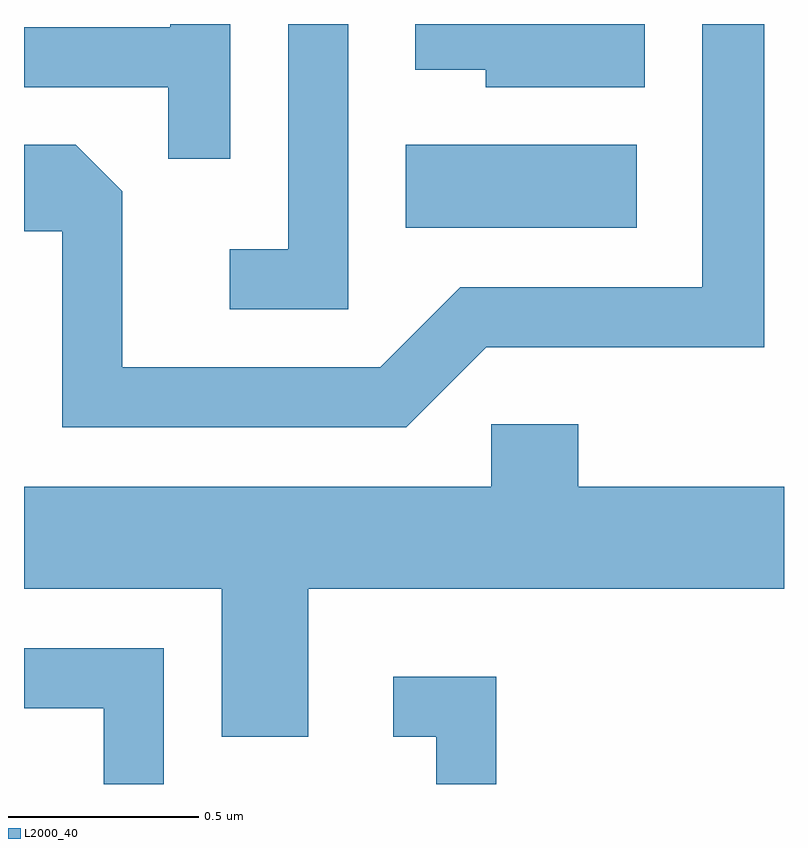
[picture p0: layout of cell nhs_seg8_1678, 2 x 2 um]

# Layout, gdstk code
import gdstk
lib = gdstk.Library(unit=1e-6, precision=1e-09)
def R(c, l, rs):  # rectangles x0, y0, x1, y1
    for r in rs: c.add(gdstk.rectangle(r[:2], r[2:], *l))
def P(c, l, *ps):  # polygons
    for p in ps: c.add(gdstk.Polygon(p, *l))
L2000_40 = (2000, 40)

nhs_seg8_1678 = lib.new_cell('nhs_seg8_1678')
R(nhs_seg8_1678, L2000_40, [(198.616,1841.806,199.224,1842.024)])
P(nhs_seg8_1678, L2000_40, [(198.464,1842.342),(198.306,1842.342),(198.306,1841.749),(198.153,1841.749),(198.153,1841.591),(198.464,1841.591)],
  [(198.827,1841.491),(199.559,1841.491),(199.559,1842.342),(199.396,1842.342),(199.396,1841.649),(198.759,1841.649),(198.549,1841.439),(197.869,1841.439),(197.869,1841.902),(197.747,1842.024),(197.611,1842.024),(197.611,1841.796),(197.711,1841.796),(197.711,1841.281),(198.617,1841.281)],
  [(198.154,1842.342),(197.996,1842.342),(197.996,1842.334),(197.611,1842.334),(197.611,1842.176),(197.991,1842.176),(197.991,1841.988),(198.154,1841.988)],
  [(199.244,1842.342),(198.641,1842.342),(198.641,1842.221),(198.826,1842.221),(198.826,1842.176),(199.244,1842.176)],
  [(198.359,1840.856),(199.611,1840.856),(199.611,1841.124),(199.069,1841.124),(199.069,1841.289),(198.841,1841.289),(198.841,1841.124),(197.611,1841.124),(197.611,1840.856),(198.131,1840.856),(198.131,1840.466),(198.359,1840.466)],
  [(197.979,1840.699),(197.611,1840.699),(197.611,1840.541),(197.821,1840.541),(197.821,1840.342),(197.979,1840.342)],
  [(198.854,1840.624),(198.583,1840.624),(198.583,1840.466),(198.696,1840.466),(198.696,1840.342),(198.854,1840.342)])

lib.write_gds('nhs_seg8_1678.gds')
